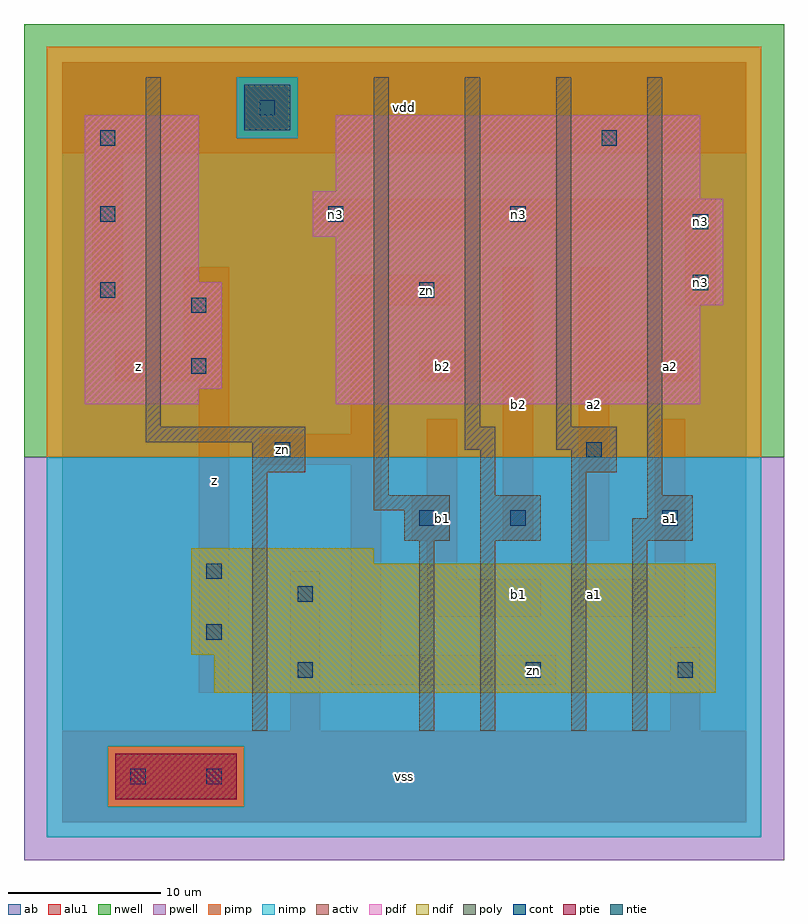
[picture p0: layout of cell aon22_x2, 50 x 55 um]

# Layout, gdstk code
import gdstk
lib = gdstk.Library(unit=1e-6, precision=1e-09)
def R(c, l, rs):  # rectangles x0, y0, x1, y1
    for r in rs: c.add(gdstk.rectangle(r[:2], r[2:], *l))
def A(c, l, x, y, w, h, nx, ny, dx, dy):  # array of equal rectangles
    R(c, l, [(x+i*dx, y+j*dy, x+i*dx+w, y+j*dy+h) for i in range(nx) for j in range(ny)])
ndif = (3, 0)
pdif = (4, 0)
ntie = (5, 0)
ptie = (6, 0)
cont = (25, 0)
pwell = (41, 0)
nwell = (42, 0)
activ = (43, 0)
pimp = (44, 0)
nimp = (45, 0)
poly = (46, 0)
alu1 = (49, 0)
ab = (63, 0)

aon22_x2 = lib.new_cell('aon22_x2')
R(aon22_x2, ndif, [(10,8.5,43,11), (8.5,11,43,17), (8.5,17,20.5,18)])
R(aon22_x2, pdif, [(1.5,27.5,9,28.5), (18,27.5,42,34), (1.5,28.5,10.5,35.5), (18,34,43.5,38.5), (1.5,35.5,9,46.5), (16.5,38.5,43.5,41), (16.5,41,42,41.5), (18,41.5,42,46.5)])
R(aon22_x2, ntie, [(12,45.5,15,48.5)])
R(aon22_x2, ptie, [(3.5,1.5,11.5,4.5)])
A(aon22_x2, cont, 2.5, 34.5, 1, 1, 1, 3, 0, 5)
R(aon22_x2, cont, [(4.5,2.5,5.5,3.5), (9.5,2.5,10.5,3.5), (15.5,9.5,16.5,10.5), (30.5,9.5,31.5,10.5), (40.5,9.5,41.5,10.5), (9.5,12,10.5,13), (15.5,14.5,16.5,15.5), (9.5,16,10.5,17), (23.5,19.5,24.5,20.5), (29.5,19.5,30.5,20.5), (39.5,19.5,40.5,20.5), (14,24,15,25), (34.5,24,35.5,25), (8.5,29.5,9.5,30.5), (8.5,33.5,9.5,34.5), (23.5,34.5,24.5,35.5), (41.5,35,42.5,36), (41.5,39,42.5,40), (17.5,39.5,18.5,40.5), (29.5,39.5,30.5,40.5), (35.5,44.5,36.5,45.5), (13,46.5,14,47.5)])
R(aon22_x2, pwell, [(-2.5,-2.5,47.5,24)])
R(aon22_x2, nwell, [(-2.5,24,47.5,52.5)])
R(aon22_x2, activ, [(3.5,1.5,11.5,4.5), (10,8.5,43,11), (8.5,11,43,17), (8.5,17,20.5,18), (1.5,27.5,9,28.5), (18,27.5,42,34), (1.5,28.5,10.5,35.5), (18,34,43.5,38.5), (1.5,35.5,9,46.5), (16.5,38.5,43.5,41), (16.5,41,42,41.5), (18,41.5,42,46.5), (12,45.5,15,48.5)])
R(aon22_x2, pimp, [(3,1,12,5), (-1,24,46,45), (-1,45,11.5,49), (15.5,45,46,49), (-1,49,46,51)])
R(aon22_x2, nimp, [(-1,-1,46,1), (-1,1,3,5), (12,1,46,5), (-1,5,46,24), (11.5,45,15.5,49)])
R(aon22_x2, poly, [(12.5,6,13.5,23), (23.5,6,24.5,18.5), (27.5,6,28.5,18.5), (33.5,6,34.5,23), (37.5,6,38.5,18.5), (22.5,18.5,25.5,20.5), (27.5,18.5,31.5,21.5), (37.5,18.5,41.5,20), (38.5,20,41.5,21.5), (20.5,20.5,25.5,21.5), (20.5,21.5,21.5,49), (27.5,21.5,28.5,24.5), (38.5,21.5,39.5,49), (12.5,23,16,25), (33.5,23,36.5,24.5), (26.5,24.5,28.5,26), (32.5,24.5,36.5,26), (5.5,25,16,26), (5.5,26,6.5,49), (26.5,26,27.5,49), (32.5,26,33.5,49)])
R(aon22_x2, alu1, [(0,0,45,6), (0,0,45,6), (15,6,17,16.5), (15,6,17,16.5), (40,6,42,11.5), (40,6,42,11.5), (9,8.5,11,29), (9,8.5,11,29), (19,9,32.5,11), (19,9,32.5,11), (19,11,21,23.5), (19,11,21,23.5), (24,13.5,31.5,16), (24,13.5,31.5,16), (33.5,13.5,41,16), (33.5,13.5,41,16), (24,16,26,18.5), (24,16,26,18.5), (39,16,41,26.5), (39,16,41,26.5), (23,18.5,26,21.5), (23,18.5,26,21.5), (29,18.5,31,29), (29,18.5,31,29), (34,18.5,36,29), (34,18.5,36,29), (24,21.5,26,26.5), (24,21.5,26,26.5), (13,23.5,21,25.5), (13,23.5,21,25.5), (19,25.5,21,34), (19,25.5,21,34), (3.5,29,11,31), (3.5,29,11,31), (23.5,29,31,31), (23.5,29,31,31), (34,29,41.5,31), (34,29,41.5,31), (8,31,11,36.5), (8,31,11,36.5), (29,31,31,36.5), (29,31,31,36.5), (34,31,36,36.5), (34,31,36,36.5), (2,33.5,4,44), (2,33.5,4,44), (19,34,25.5,36), (19,34,25.5,36), (41,34,43,39), (41,34,43,39), (16.5,39,43,41), (16.5,39,43,41), (0,44,45,50), (0,44,45,50)])
R(aon22_x2, ab, [(0,0,45,50)])
aon22_x2.add(gdstk.Label('zn', (14.5,24.5), layer=49, texttype=0))
aon22_x2.add(gdstk.Label('n3', (18,40), layer=49, texttype=0))
aon22_x2.add(gdstk.Label('zn', (31,10), layer=49, texttype=0))
aon22_x2.add(gdstk.Label('zn', (24,35), layer=49, texttype=0))
aon22_x2.add(gdstk.Label('n3', (30,40), layer=49, texttype=0))
aon22_x2.add(gdstk.Label('n3', (42,35.5), layer=49, texttype=0))
aon22_x2.add(gdstk.Label('n3', (42,39.5), layer=49, texttype=0))
aon22_x2.add(gdstk.Label('z', (5,30), layer=49, texttype=0))
aon22_x2.add(gdstk.Label('z', (10,22.5), layer=49, texttype=0))
aon22_x2.add(gdstk.Label('vss', (22.5,3), layer=49, texttype=0))
aon22_x2.add(gdstk.Label('b1', (30,15), layer=49, texttype=0))
aon22_x2.add(gdstk.Label('b1', (25,20), layer=49, texttype=0))
aon22_x2.add(gdstk.Label('b2', (30,27.5), layer=49, texttype=0))
aon22_x2.add(gdstk.Label('b2', (25,30), layer=49, texttype=0))
aon22_x2.add(gdstk.Label('vdd', (22.5,47), layer=49, texttype=0))
aon22_x2.add(gdstk.Label('a1', (35,15), layer=49, texttype=0))
aon22_x2.add(gdstk.Label('a1', (40,20), layer=49, texttype=0))
aon22_x2.add(gdstk.Label('a2', (35,27.5), layer=49, texttype=0))
aon22_x2.add(gdstk.Label('a2', (40,30), layer=49, texttype=0))

lib.write_gds('aon22_x2.gds')
